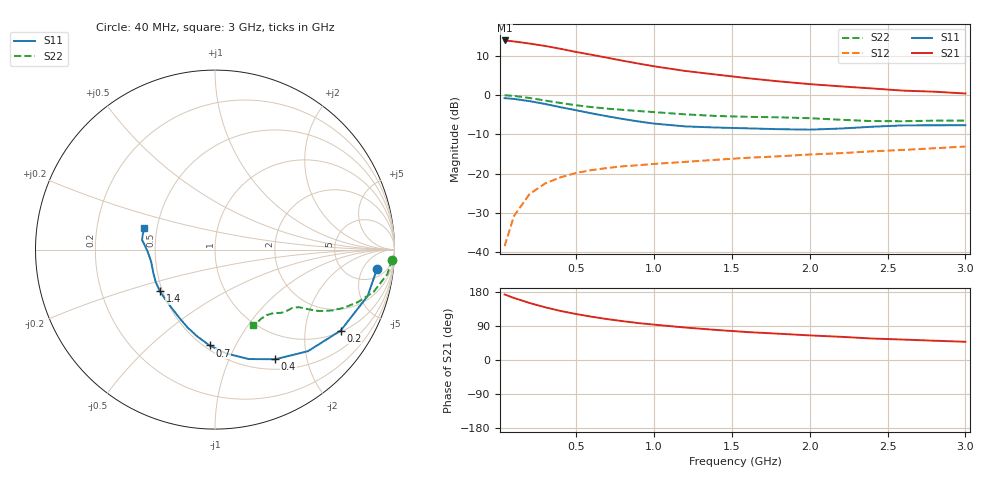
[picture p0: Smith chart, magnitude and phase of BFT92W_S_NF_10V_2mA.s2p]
! Filename:  BFT92WF.S2P  Version:  4.0
! Philips part #: BFT92W  Date: Jun 1994
! Bias condition: Vce=10V, Ic=2mA
#  MHz  S  MA  R  50
! Freq  S11  S21  S12  S22  !GUM [dB]
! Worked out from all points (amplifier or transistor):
!   21 points, 40 MHz to 3 GHz, reference 50 ohm
!   highest |S21| = 13.8 dB at 40 MHz (marker M1)
!   |S21| within 3 dB of that: start of sweep to 510.4 MHz
!   unconditionally stable (mu >= 1): 1.145 GHz to end of sweep
!   at 300 MHz: K = 0.36, MSG = 17.5 dB, |S12| = -22.5 dB
!   at 1 GHz: K = 0.90, MSG = 12.4 dB, |S12| = -17.5 dB
!   at 3 GHz: K = 1.33, MAG = 3.3 dB, |S12| = -13.1 dB
!   lowest NFmin = 2.40 dB at 500 MHz
!   S11 on the Smith chart (normalised r, x): 40 MHz: 8, -10; 200 MHz: 1.04, -3.07; 400 MHz: 0.63, -1.50; 700 MHz: 0.53, -0.79; 1.4 GHz: 0.48, -0.26; 3 GHz: 0.42, +0.12
40  0.909 -6.8  4.91 172.9  0.012 85.1  0.989 -3.2
100  0.889 -16.9  4.771 163.7  0.029 78.7  0.97 -8.1
200  0.833 -32.8  4.483 150.5  0.055 69.2  0.914 -15.0
300  0.767 -47.6  4.182 139.1  0.075 61.8  0.848 -20.2
400  0.697 -61.2  3.844 129.3  0.09 56.6  0.789 -24.2
500  0.638 -72.9  3.506 121.3  0.102 52.9  0.738 -27.3
600  0.582 -83.8  3.228 114.1  0.111 50.8  0.699 -29.3
700  0.535 -93.2  2.961 107.9  0.118 49.4  0.669 -30.7
800  0.494 -101.5  2.713 102.4  0.124 48.6  0.645 -31.7
900  0.46 -109.4  2.498 97.4  0.128 48.0  0.624 -32.3
1000  0.432 -116.7  2.308 93.3  0.133 47.9  0.605 -33.0
1200  0.398 -130.8  2.014 85.7  0.141 48.1  0.566 -34.5
1400  0.385 -142.8  1.81 79.3  0.15 48.9  0.54 -37.0
1600  0.376 -151.7  1.63 73.7  0.159 49.8  0.527 -40.2
1800  0.367 -159.8  1.485 69.4  0.166 51.5  0.519 -42.3
2000  0.362 -169.2  1.37 64.9  0.175 53.2  0.506 -44.2
2200  0.374 -177.7  1.283 61.2  0.182 54.7  0.483 -46.9
2400  0.394 176.0  1.207 56.7  0.192 56.1  0.465 -51.6
2600  0.41 172.5  1.133 53.9  0.2 57.2  0.463 -56.7
2800  0.411 168.4  1.098 50.9  0.21 59.1  0.471 -60.5
3000  0.412 163.3  1.041 48.1  0.221 60.8  0.471 -63.0
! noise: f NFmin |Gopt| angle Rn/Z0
500  2.4  0.45  30.3  0.58
1000  2.6  0.44  55.9  0.71
